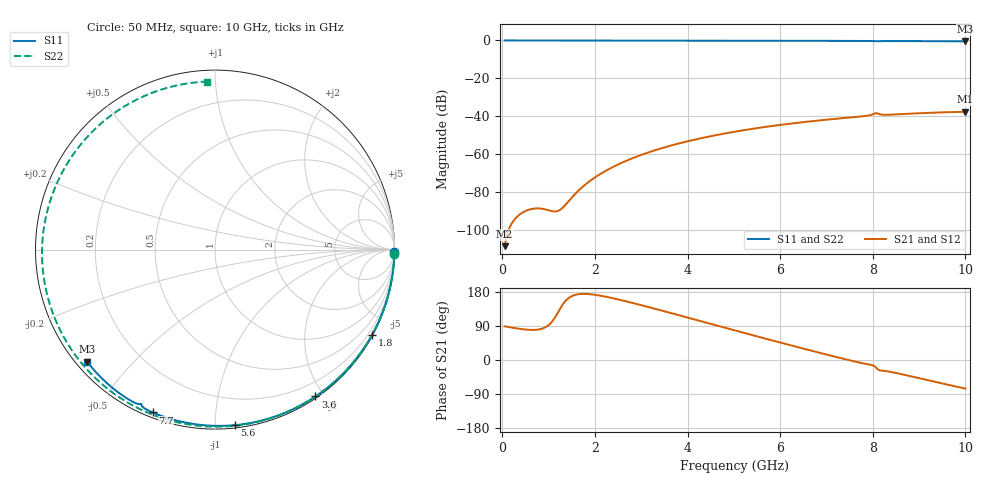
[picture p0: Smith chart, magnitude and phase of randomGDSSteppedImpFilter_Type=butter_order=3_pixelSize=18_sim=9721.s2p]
! freq	dB(S11)	phase(S11)	dB(S12)	phase(S12)
!  dB(S21)	phase(S21)	dB(S22)	phase(S22)
!S-par simulation data
#  GHz  S  DB  R 50
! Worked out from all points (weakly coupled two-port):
!   200 points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, 50 MHz to 10 GHz, reference 50 ohm
!   highest |S21| = -37.60 dB at 10 GHz (marker M1); lowest = -108.5 dB at 50 MHz (marker M2)
!   lowest |S11| = -0.5 dB at 10 GHz (marker M3), VSWR 36.64, Z = 1.56 - j18.8 ohm
!   |S11| at or under -10 dB: nowhere
!   |S22| runs from -0.6 to 0.0 dB; largest |S21 - S12| = 0
!   S11 on the Smith chart (normalised r, x): 50 MHz: open; 1.8 GHz: 0.03, -3.94; 3.6 GHz: 0.02, -1.90; 5.6 GHz: 0.02, -1.12; 7.7 GHz: 0.02, -0.69; 10 GHz: 0.03, -0.38
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0.05  -0.00 -0.8  -108.48 88.9  -108.48 88.9  -0.00 -1.5
0.8  -0.02 -12.8  -88.59 80.9  -88.59 80.9  -0.03 -24.1
1.6  -0.03 -25.4  -80.29 172.6  -80.29 172.6  -0.06 -47.6
1.75  -0.04 -27.7  -76.88 174.5  -76.88 174.5  -0.07 -51.9
1.8  -0.04 -28.5  -75.87 174.4  -75.87 174.4  -0.07 -53.3
2.1  -0.04 -33.1  -70.67 170.1  -70.67 170.1  -0.08 -61.7
2.45  -0.05 -38.5  -65.98 161.3  -65.98 161.3  -0.09 -71.4
2.9  -0.06 -45.3  -61.27 147.9  -61.27 147.9  -0.11 -83.5
3.4  -0.07 -52.7  -57.13 131.8  -57.13 131.8  -0.12 -96.6
3.6  -0.07 -55.6  -55.71 125.3  -55.71 125.3  -0.13 -101.8
4.3  -0.09 -65.7  -51.51 102.1  -51.51 102.1  -0.16 -119.3
5.05  -0.12 -76.2  -47.99 77.2  -47.99 77.2  -0.20 -137.6
5.6  -0.14 -83.7  -45.88 59.1  -45.88 59.1  -0.24 -150.9
6.15  -0.16 -91.0  -44.08 41.3  -44.08 41.3  -0.28 -164.1
6.7  -0.19 -98.1  -42.53 23.7  -42.53 23.7  -0.31 -177.5
7.2  -0.22 -104.5  -41.31 8.2  -41.31 8.2  -0.35 170.1
7.7  -0.25 -110.9  -40.20 -6.5  -40.20 -6.5  -0.40 157.3
7.9  -0.28 -113.6  -39.62 -11.4  -39.62 -11.4  -0.41 152.1
8.05  -0.41 -115.5  -38.44 -17.6  -38.44 -17.6  -0.43 148.1
8.35  -0.32 -118.5  -39.17 -30.5  -39.17 -30.5  -0.45 140.1
9.25  -0.39 -129.7  -38.13 -55.0  -38.13 -55.0  -0.52 114.8
10  -0.47 -138.8  -37.60 -75.5  -37.60 -75.5  -0.57 92.6
